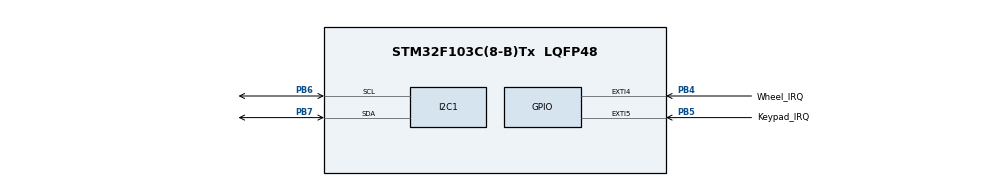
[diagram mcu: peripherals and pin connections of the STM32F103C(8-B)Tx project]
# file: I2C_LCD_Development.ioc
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Mcu.Family=STM32F1
NVIC.EXTI4_IRQn=true\:0\:0\:false\:false\:true\:true\:true
PB4.GPIO_ModeDefaultEXTI=GPIO_MODE_IT_FALLING
ProjectManager.StackSize=0x400
PA13.Signal=SYS_JTMS-SWDIO
ProjectManager.TargetToolchain=MDK-ARM V5.27
I2C1.I2C_Mode=I2C_Standard
PB6.Signal=I2C1_SCL
PB6.Mode=I2C
board=custom
RCC.APB2Freq_Value=8000000
PB4.GPIO_Label=Wheel_IRQ
PA14.Mode=Serial_Wire
PB7.Signal=I2C1_SDA
PA13.Mode=Serial_Wire
Mcu.Name=STM32F103C(8-B)Tx
Mcu.Package=LQFP48
PB5.Signal=GPXTI5
PB7.Mode=I2C
NVIC.EXTI9_5_IRQn=true\:0\:0\:false\:false\:true\:true\:true
PA14.Signal=SYS_JTCK-SWCLK
ProjectManager.HeapSize=0x200
NVIC.PriorityGroup=NVIC_PRIORITYGROUP_4
PB5.GPIO_Label=Keypad_IRQ
RCC.APB1Freq_Value=8000000
PB4.Signal=GPXTI4
PB5.GPIO_ModeDefaultEXTI=GPIO_MODE_IT_FALLING

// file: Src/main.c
/* USER CODE BEGIN Header */
/**
  ******************************************************************************
  * @file           : main.c
  * @brief          : Main program body
  ******************************************************************************
  * @attention
  *
  * <h2><center>&copy; Copyright (c) 2020 STMicroelectronics.
  * All rights reserved.</center></h2>
  *
  * This software component is licensed by ST under BSD 3-Clause license,
  * the "License"; You may not use this file except in compliance with the
  * License. You may obtain a copy of the License at:
  *                        opensource.org/licenses/BSD-3-Clause
  *
  ******************************************************************************
  */
/* USER CODE END Header */

#include "main.h"

/* USER CODE BEGIN Includes */
#include "lcd20x4_i2c.h"
#include "mpr121.h"
/* USER CODE END Includes */

I2C_HandleTypeDef hi2c1;

void SystemClock_Config(void);
static void MX_GPIO_Init(void);
static void MX_I2C1_Init(void);
/* USER CODE BEGIN PFP */
Menu_TypeDef MenuInit(Menu_TypeDef Menu);
void MenuDisplayUpdate(Menu_TypeDef Menu);
Menu_TypeDef MenuScrollUp(Menu_TypeDef Menu);
Menu_TypeDef MenuScrollDown(Menu_TypeDef Menu);
void MenuStrCpy(char *strPtr, char *menuPtr, int strCpyStart , int strCpyLength);
void MenuSetRowText(char* menuPtr, int rowNum, char rowTxt[MenuRowLength]);
/* USER CODE END PFP */

/* USER CODE BEGIN 0 */
	uint16_t touchVal = 0x0000;
	uint16_t *pTouchVal = &touchVal;
	uint8_t reg = 0x00;
	uint8_t data = 0x00;
	uint8_t data2 = 0x00;
	uint8_t i2cData[3];

	uint8_t lcdRowIndex = 0;
	uint8_t lcdColIndex = 0;
	uint8_t wheelReadDelayms = 10;

	char lastWheelDir = 'X';
	char wheelDir = 'X';

	bool MAIN_MENU_ENABLED = 1;
	bool PIN_MAPPING_ENABLED = 0;
	bool APPLICATION_ENABLED = 0;
	bool KEYPAD_IRQ = 0;

	Menu_TypeDef MainMenu;

/* USER CODE END 0 */

int main(void)
{
  /* USER CODE BEGIN 1 */
	i2cData[0] = reg;
	i2cData[1] = data;
	i2cData[2] = data2;

//Menu_TypeDef MainMenu;
MainMenu = MenuInit(MainMenu);
MainMenu.ArrayPtr = &MainMenu.Array[0]; // for some reason the Array Ptr doesnt transfer out of MenuInit

  /* USER CODE END 1 */

  /* MCU Configuration--------------------------------------------------------*/

  /* Reset of all peripherals, Initializes the Flash interface and the Systick. */
  HAL_Init();

  /* Configure the system clock */
  SystemClock_Config();

  /* Initialize all configured peripherals */
  MX_GPIO_Init();
  MX_I2C1_Init();
  /* USER CODE BEGIN 2 */

	if(lcd20x4_i2c_init(&hi2c1))
	{
		int j=1;
		j++;
	}

	HAL_Delay(100);
	mpr121_init(&hi2c1, (KEYPAD_ADDRESS<<1), &hi2c1);
	mpr121_init(&hi2c1, (WHEEL_ADDRESS<<1), &hi2c1);
	//HAL_Delay(100);
	//lcd20x4_i2c_clear();
	HAL_Delay(100);

	if(HAL_I2C_IsDeviceReady(&hi2c1, (KEYPAD_ADDRESS<<1), 2, 10) == HAL_OK)
		{
			lcd20x4_i2c_1stLine();
			HAL_Delay(50);
			lcd20x4_i2c_printf("Keypad Ready!");
		}
	else lcd20x4_i2c_printf("Keypad Init Failed");
	lcd20x4_i2c_2ndLine();

	if(HAL_I2C_IsDeviceReady(&hi2c1, (WHEEL_ADDRESS<<1), 2, 10) == HAL_OK)
		{
			HAL_Delay(50);
			lcd20x4_i2c_printf("Wheel Ready!");
		}
	else lcd20x4_i2c_printf("Wheel Init Failed");
	lcd20x4_i2c_1stLine();

	HAL_Delay(1000);
	lcd20x4_i2c_clear();
	lcd20x4_i2c_cursorShow(1);

  /* USER CODE END 2 */

  /* Infinite loop */
  /* USER CODE BEGIN WHILE */

	i2cData[0] = 0x00;
	i2cData[1] = 0x00;
	i2cData[2] = 0x00;
	touchVal=0x000A;

  while (1)
  {

		if(MAIN_MENU_ENABLED == 1)
		{
			lcd20x4_i2c_clear();
			MenuDisplayUpdate(MainMenu);

			while(MAIN_MENU_ENABLED == 1)
			{
				HAL_Delay(1);	//Is there anything to do here?
			}
		}

		if(APPLICATION_ENABLED == 1)
		{
			lcd20x4_i2c_clear();
			lcd20x4_i2c_1stLine();
			lcd20x4_i2c_printf("Press 1 to go back");

			while(APPLICATION_ENABLED == 1)
			{
				//Is there anything to do here?
			}
		}

		if(PIN_MAPPING_ENABLED == 1)
		{
			lcd20x4_i2c_clear();
			lcd20x4_i2c_1stLine();
			lcd20x4_i2c_printf("LED # 123");
			lcd20x4_i2c_2ndLine();
			lcd20x4_i2c_printf("RED: 255");
			lcd20x4_i2c_3rdLine();
			lcd20x4_i2c_printf("GRN: 255");
			lcd20x4_i2c_4thLine();
			lcd20x4_i2c_printf("BLU: 255");

			while(PIN_MAPPING_ENABLED == 1)
			{
				//Is there anything to do here?
			}
		}

    /* USER CODE END WHILE */

  }
}

void SystemClock_Config(void)
{
  RCC_OscInitTypeDef RCC_OscInitStruct = {0};
  RCC_ClkInitTypeDef RCC_ClkInitStruct = {0};

  /** Initializes the CPU, AHB and APB busses clocks
  */
  RCC_OscInitStruct.OscillatorType = RCC_OSCILLATORTYPE_HSI;
  RCC_OscInitStruct.HSIState = RCC_HSI_ON;
  RCC_OscInitStruct.HSICalibrationValue = RCC_HSICALIBRATION_DEFAULT;
  RCC_OscInitStruct.PLL.PLLState = RCC_PLL_NONE;
  if (HAL_RCC_OscConfig(&RCC_OscInitStruct) != HAL_OK)
  {
    Error_Handler();
  }
  /** Initializes the CPU, AHB and APB busses clocks
  */
  RCC_ClkInitStruct.ClockType = RCC_CLOCKTYPE_HCLK|RCC_CLOCKTYPE_SYSCLK
                              |RCC_CLOCKTYPE_PCLK1|RCC_CLOCKTYPE_PCLK2;
  RCC_ClkInitStruct.SYSCLKSource = RCC_SYSCLKSOURCE_HSI;
  RCC_ClkInitStruct.AHBCLKDivider = RCC_SYSCLK_DIV1;
  RCC_ClkInitStruct.APB1CLKDivider = RCC_HCLK_DIV1;
  RCC_ClkInitStruct.APB2CLKDivider = RCC_HCLK_DIV1;

  if (HAL_RCC_ClockConfig(&RCC_ClkInitStruct, FLASH_LATENCY_0) != HAL_OK)
  {
    Error_Handler();
  }
}

static void MX_I2C1_Init(void)
{

  hi2c1.Instance = I2C1;
  hi2c1.Init.ClockSpeed = 100000;
  hi2c1.Init.DutyCycle = I2C_DUTYCYCLE_2;
  hi2c1.Init.OwnAddress1 = 0;
  hi2c1.Init.AddressingMode = I2C_ADDRESSINGMODE_7BIT;
  hi2c1.Init.DualAddressMode = I2C_DUALADDRESS_DISABLE;
  hi2c1.Init.OwnAddress2 = 0;
  hi2c1.Init.GeneralCallMode = I2C_GENERALCALL_DISABLE;
  hi2c1.Init.NoStretchMode = I2C_NOSTRETCH_DISABLE;
  if (HAL_I2C_Init(&hi2c1) != HAL_OK)
  {
    Error_Handler();
  }

}

static void MX_GPIO_Init(void)
{
  GPIO_InitTypeDef GPIO_InitStruct = {0};

  /* GPIO Ports Clock Enable */
  __HAL_RCC_GPIOA_CLK_ENABLE();
  __HAL_RCC_GPIOB_CLK_ENABLE();

  /*Configure GPIO pins : Wheel_IRQ_Pin Keypad_IRQ_Pin */
  GPIO_InitStruct.Pin = Wheel_IRQ_Pin|Keypad_IRQ_Pin;
  GPIO_InitStruct.Mode = GPIO_MODE_IT_FALLING;
  GPIO_InitStruct.Pull = GPIO_NOPULL;
  HAL_GPIO_Init(GPIOB, &GPIO_InitStruct);

  /* EXTI interrupt init*/
  HAL_NVIC_SetPriority(EXTI4_IRQn, 2, 0);
  HAL_NVIC_EnableIRQ(EXTI4_IRQn);

  HAL_NVIC_SetPriority(EXTI9_5_IRQn, 2, 0);
  HAL_NVIC_EnableIRQ(EXTI9_5_IRQn);

}

/* USER CODE BEGIN 4 */

void HAL_GPIO_EXTI_Callback(uint16_t GPIO_Pin)
{
	KEYPAD_IRQ = 0;

	//ensures that MPR121s aren't read while LCD is being written to
	I2C_HandleTypeDef *phi2c1 = &hi2c1;
	if (phi2c1->State != HAL_I2C_STATE_READY)
	{
		KEYPAD_IRQ = 1;
		return;
	}

	if(GPIO_Pin == Wheel_IRQ_Pin)
	{
		/*
		lcdColIndex++;
		if(lcdColIndex==20)
		{
			lcdColIndex=0;
			lcdRowIndex++;
		}
		if(lcdRowIndex==4)
		{
			lcdRowIndex=0;
			lcd20x4_i2c_clear();
		*/

		while(HAL_I2C_GetState(&hi2c1) != HAL_I2C_STATE_READY)
    {
    }
		lastWheelDir = wheelDir;
		wheelDir = mpr121_wheel(&hi2c1, (WHEEL_ADDRESS<<1), wheelDir);
		HAL_Delay(wheelReadDelayms);

		if (wheelDir == 'E' & lastWheelDir == 'N') MainMenu = MenuScrollUp(MainMenu);
		if (wheelDir == 'S' & lastWheelDir == 'E') MainMenu = MenuScrollUp(MainMenu);
		if (wheelDir == 'W' & lastWheelDir == 'S') MainMenu = MenuScrollUp(MainMenu);
		if (wheelDir == 'N' & lastWheelDir == 'W') MainMenu = MenuScrollUp(MainMenu);

		if (wheelDir == 'W' & lastWheelDir == 'N') MainMenu = MenuScrollDown(MainMenu);
		if (wheelDir == 'N' & lastWheelDir == 'E') MainMenu = MenuScrollDown(MainMenu);
		if (wheelDir == 'E' & lastWheelDir == 'S') MainMenu = MenuScrollDown(MainMenu);
		if (wheelDir == 'S' & lastWheelDir == 'W') MainMenu = MenuScrollDown(MainMenu);

		/*
		lcd20x4_i2c_1stLine();
		lcd20x4_i2c_setCursor(lcdRowIndex,lcdColIndex);
		lcd20x4_i2c_printf("%c", wheelDir);
		*/
	}

	if(GPIO_Pin == Keypad_IRQ_Pin)
	   {

			//lcd20x4_i2c_clear();

			 uint8_t keypadVal;
			 while(HAL_I2C_GetState(&hi2c1) != HAL_I2C_STATE_READY)
        {

        }
			 keypadVal = mpr121_keyPad(&hi2c1, (KEYPAD_ADDRESS<<1));
			 //lcd20x4_i2c_printf("Keypad value %i, keypadVal");

			 HAL_Delay(10);

			 if(MAIN_MENU_ENABLED){

				if(keypadVal==1)
				{
					APPLICATION_ENABLED = true;
					MAIN_MENU_ENABLED = false;
					return;
				}

				if(keypadVal==2)
				{
					PIN_MAPPING_ENABLED = true;
					MAIN_MENU_ENABLED = false;
					return;
				}
				return;
			 }

			 if(APPLICATION_ENABLED)
				{
				 if(keypadVal==1)
				 {
					 MAIN_MENU_ENABLED = true;
					 APPLICATION_ENABLED = false;
					 return;
				 }
				 return;
				}

			 if(PIN_MAPPING_ENABLED)
			 {
				 if(keypadVal==10)
				 {
					 MAIN_MENU_ENABLED = true;
					 PIN_MAPPING_ENABLED = false;
					 return;
				 }
				 return;
			 }

	   }

}

Menu_TypeDef MenuInit(Menu_TypeDef Menu)
{
	Menu.ArrayPtr = &Menu.Array[0];
	Menu.HighestRow=0;
	Menu.DisplayTopRow=0;
	Menu.DisplaySelectedRow=0;
	Menu.DisplayBottomRow = 3*MenuRowLength;
	Menu.LowestRow = MenuRowLength*(MenuColumnLength - 1);

	MenuSetRowText(Menu.ArrayPtr, 0, " Top of Main Menu");
	MenuSetRowText(Menu.ArrayPtr, 1, " Row 1");
	MenuSetRowText(Menu.ArrayPtr, 2, " Row 2");
	MenuSetRowText(Menu.ArrayPtr, 3, " Row 3");
	MenuSetRowText(Menu.ArrayPtr, 4, " Row 4");
	MenuSetRowText(Menu.ArrayPtr, 5, " Row 5");
	MenuSetRowText(Menu.ArrayPtr, 6, " Row 6");
	MenuSetRowText(Menu.ArrayPtr, 7, " Row 7");
	MenuSetRowText(Menu.ArrayPtr, 8, " Row 8");
	MenuSetRowText(Menu.ArrayPtr, 9, " Bottom of Menu");
	return Menu;
}

Menu_TypeDef MenuScrollUp (Menu_TypeDef Menu)
{
	if(Menu.DisplaySelectedRow == Menu.HighestRow) return Menu;
	if(Menu.DisplaySelectedRow == Menu.DisplayTopRow)
	{
		Menu.DisplayTopRow = Menu.DisplayTopRow - MenuRowLength;
		Menu.DisplayBottomRow = Menu.DisplayBottomRow - MenuRowLength;
	}
	Menu.DisplaySelectedRow = Menu.DisplaySelectedRow - MenuRowLength;
	MenuDisplayUpdate(Menu);
	return Menu;
}

Menu_TypeDef MenuScrollDown (Menu_TypeDef Menu)
{
	if(Menu.DisplaySelectedRow == Menu.LowestRow) return Menu;
	if(Menu.DisplaySelectedRow == Menu.DisplayBottomRow)
	{
		Menu.DisplayTopRow = Menu.DisplayTopRow + MenuRowLength;
		Menu.DisplayBottomRow = Menu.DisplayBottomRow + MenuRowLength;
	}
	Menu.DisplaySelectedRow = Menu.DisplaySelectedRow + MenuRowLength;
	MenuDisplayUpdate(Menu);
	return Menu;
}

void MenuDisplayUpdate(Menu_TypeDef Menu)
{
	char tempStr[MenuRowLength];
	char *tempStrPtr = &tempStr[0];
	lcd20x4_i2c_clear();

	lcd20x4_i2c_1stLine();
	MenuStrCpy(tempStrPtr, Menu.ArrayPtr, Menu.DisplayTopRow, MenuRowLength);
	lcd20x4_i2c_printf(tempStr);
	HAL_Delay(10);

	lcd20x4_i2c_2ndLine();
	MenuStrCpy(tempStrPtr, Menu.ArrayPtr, (Menu.DisplayTopRow + MenuRowLength),MenuRowLength);
	lcd20x4_i2c_printf(tempStr);
	HAL_Delay(10);

	lcd20x4_i2c_3rdLine();
	MenuStrCpy(tempStrPtr, Menu.ArrayPtr, (Menu.DisplayTopRow + 2*MenuRowLength),MenuRowLength);
	lcd20x4_i2c_printf(tempStr);
	HAL_Delay(10);

	lcd20x4_i2c_4thLine();
	MenuStrCpy(tempStrPtr, Menu.ArrayPtr, (Menu.DisplayTopRow + 3*MenuRowLength),MenuRowLength);
	lcd20x4_i2c_printf(tempStr);
	lcd20x4_i2c_setCursor(((Menu.DisplaySelectedRow-Menu.DisplayTopRow)/MenuRowLength),0);
	HAL_Delay(10);
}

void MenuStrCpy(char *strPtr, char *arrayPtr, int strCpyStart , int strCpyLength)
{
	int tempIndex=0;
	while(tempIndex<strCpyLength)
	{
		*(strPtr+tempIndex) = *(arrayPtr + strCpyStart + tempIndex);
		tempIndex++;
	}
}

void MenuSetRowText(char* menuPtr, int rowNum, char rowTxt[MenuRowLength])
{
	int rowIndex=0;
	while(rowIndex<MenuRowLength)
	{
		*(menuPtr + (MenuRowLength*rowNum) + rowIndex) = rowTxt[rowIndex];
		rowIndex++;
	}
}

/* USER CODE END 4 */

void Error_Handler(void)
{
}

/************************ (C) COPYRIGHT STMicroelectronics *****END OF FILE****/
